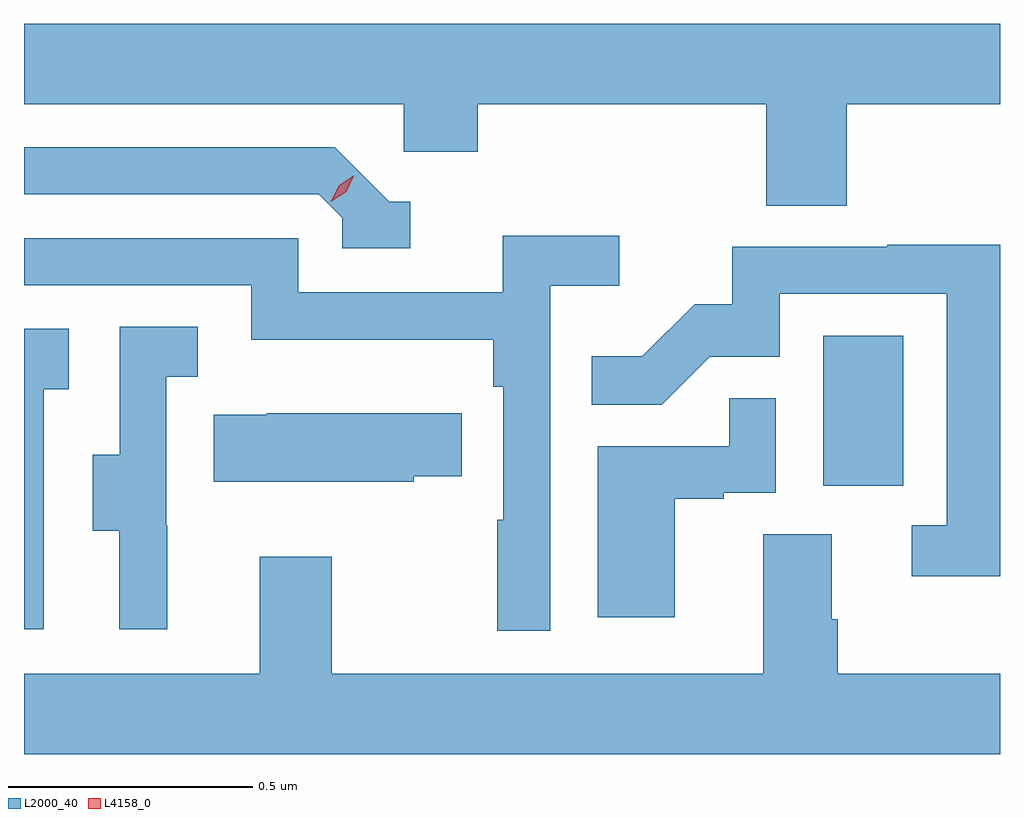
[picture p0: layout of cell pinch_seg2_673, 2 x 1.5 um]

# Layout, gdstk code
import gdstk
lib = gdstk.Library(unit=1e-6, precision=1e-09)
def R(c, l, rs):  # rectangles x0, y0, x1, y1
    for r in rs: c.add(gdstk.rectangle(r[:2], r[2:], *l))
def P(c, l, *ps):  # polygons
    for p in ps: c.add(gdstk.Polygon(p, *l))
L2000_40 = (2000, 40)
L4158_0 = (4158, 0)

pinch_seg2_673 = lib.new_cell('pinch_seg2_673')
R(pinch_seg2_673, L2000_40, [(1035.38,585.582,1035.544,585.889)])
P(pinch_seg2_673, L2000_40, [(1035.428,586.364),(1035.742,586.364),(1035.742,586.528),(1033.742,586.528),(1033.742,586.364),(1034.52,586.364),(1034.52,586.266),(1034.672,586.266),(1034.672,586.364),(1035.263,586.364),(1035.263,586.156),(1035.428,586.156)],
  [(1034.533,586.164),(1034.49,586.164),(1034.379,586.275),(1033.742,586.275),(1033.742,586.179),(1034.346,586.179),(1034.394,586.131),(1034.394,586.068),(1034.533,586.068)],
  [(1034.82,585.992),(1034.962,585.992),(1034.962,586.094),(1034.723,586.094),(1034.723,585.978),(1034.304,585.978),(1034.304,586.089),(1033.742,586.089),(1033.742,585.993),(1034.208,585.993),(1034.208,585.881),(1034.704,585.881),(1034.704,585.785),(1034.724,585.785),(1034.724,585.512),(1034.712,585.512),(1034.712,585.285),(1034.82,585.285)],
  [(1035.742,586.076),(1035.511,586.076),(1035.511,586.071),(1035.193,586.071),(1035.193,585.954),(1035.116,585.954),(1035.009,585.847),(1034.905,585.847),(1034.905,585.748),(1035.049,585.748),(1035.147,585.846),(1035.291,585.846),(1035.291,585.975),(1035.633,585.975),(1035.633,585.501),(1035.561,585.501),(1035.561,585.396),(1035.742,585.396)],
  [(1034.036,585.501),(1034.034,585.501),(1034.034,585.805),(1034.098,585.805),(1034.098,585.908),(1033.938,585.908),(1033.938,585.645),(1033.883,585.645),(1033.883,585.49),(1033.937,585.49),(1033.937,585.288),(1034.036,585.288)],
  [(1033.782,585.779),(1033.834,585.779),(1033.834,585.903),(1033.742,585.903),(1033.742,585.288),(1033.782,585.288)],
  [(1035.076,585.555),(1035.176,585.555),(1035.176,585.567),(1035.282,585.567),(1035.282,585.761),(1035.187,585.761),(1035.187,585.663),(1034.918,585.663),(1034.918,585.312),(1035.076,585.312)],
  [(1034.541,585.601),(1034.639,585.601),(1034.639,585.73),(1034.239,585.73),(1034.239,585.727),(1034.131,585.727),(1034.131,585.59),(1034.541,585.59)],
  [(1035.742,585.196),(1035.41,585.196),(1035.41,585.308),(1035.397,585.308),(1035.397,585.482),(1035.257,585.482),(1035.257,585.196),(1034.373,585.196),(1034.373,585.436),(1034.225,585.436),(1034.225,585.196),(1033.742,585.196),(1033.742,585.032),(1035.742,585.032)])
P(pinch_seg2_673, L4158_0, [(1034.371,586.164),(1034.371,586.164),(1034.387,586.197),(1034.417,586.217),(1034.418,586.217),(1034.418,586.217),(1034.402,586.184),(1034.371,586.164)])

lib.write_gds('pinch_seg2_673.gds')
